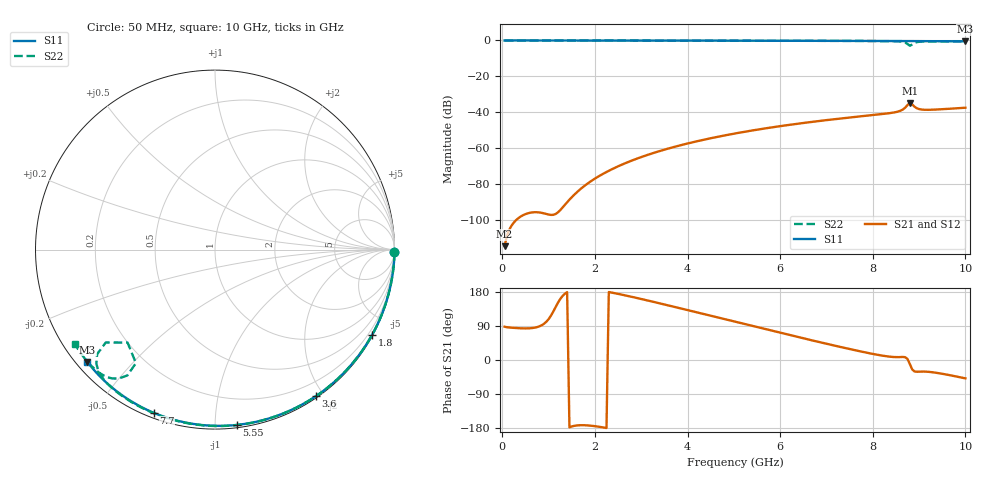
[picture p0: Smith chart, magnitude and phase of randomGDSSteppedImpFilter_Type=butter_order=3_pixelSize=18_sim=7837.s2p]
! freq	dB(S11)	phase(S11)	dB(S12)	phase(S12)
!  dB(S21)	phase(S21)	dB(S22)	phase(S22)
!S-par simulation data
#  GHz  S  DB  R 50
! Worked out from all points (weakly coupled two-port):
!   200 points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, 50 MHz to 10 GHz, reference 50 ohm
!   highest |S21| = -34.89 dB at 8.8 GHz (marker M1); lowest = -114.5 dB at 50 MHz (marker M2)
!   lowest |S11| = -0.5 dB at 10 GHz (marker M3), VSWR 37.06, Z = 1.54 - j18.9 ohm
!   |S11| at or under -10 dB: nowhere
!   |S22| runs from -3.0 to 0.0 dB; largest |S21 - S12| = 0
!   S11 on the Smith chart (normalised r, x): 50 MHz: open; 1.8 GHz: 0.03, -3.95; 3.6 GHz: 0.02, -1.90; 5.55 GHz: 0.02, -1.13; 7.7 GHz: 0.02, -0.69; 10 GHz: 0.03, -0.38
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0.05  -0.00 -0.8  -114.49 87.8  -114.49 87.8  -0.00 -0.9
0.9  -0.02 -14.4  -96.22 95.5  -96.22 95.5  -0.02 -15.3
1.75  -0.04 -27.7  -81.41 -172.1  -81.41 -172.1  -0.04 -29.5
1.8  -0.04 -28.4  -80.42 -172.3  -80.42 -172.3  -0.04 -30.3
2.5  -0.05 -39.2  -70.05 174.5  -70.05 174.5  -0.05 -41.8
3.4  -0.07 -52.6  -61.53 149.5  -61.53 149.5  -0.07 -56.1
3.6  -0.07 -55.5  -60.04 143.6  -60.04 143.6  -0.08 -59.2
4.3  -0.09 -65.6  -55.54 122.7  -55.54 122.7  -0.10 -69.9
5.05  -0.12 -76.1  -51.65 100.2  -51.65 100.2  -0.12 -81.0
5.55  -0.14 -82.8  -49.46 85.3  -49.46 85.3  -0.14 -88.2
6.7  -0.19 -98.0  -45.27 51.5  -45.27 51.5  -0.20 -104.3
7.7  -0.25 -110.6  -42.35 23.6  -42.35 23.6  -0.27 -118.2
8.35  -0.30 -118.6  -40.51 9.0  -40.51 9.0  -0.37 -128.3
8.55  -0.32 -121.1  -39.54 7.6  -39.54 7.6  -0.50 -132.7
8.7  -0.33 -122.9  -37.41 7.4  -37.41 7.4  -1.13 -138.4
8.75  -0.34 -123.5  -35.95 2.7  -35.95 2.7  -1.95 -139.6
8.8  -0.34 -124.1  -34.89 -10.5  -34.89 -10.5  -2.96 -133.2
8.85  -0.35 -124.7  -35.56 -24.6  -35.56 -24.6  -2.26 -124.9
8.9  -0.35 -125.3  -36.84 -30.1  -36.84 -30.1  -1.36 -124.9
8.95  -0.36 -125.9  -37.71 -31.0  -37.71 -31.0  -0.94 -126.8
9.25  -0.39 -129.6  -38.58 -31.8  -38.58 -31.8  -0.50 -134.6
10  -0.47 -138.6  -37.44 -48.5  -37.44 -48.5  -0.52 -146.0
